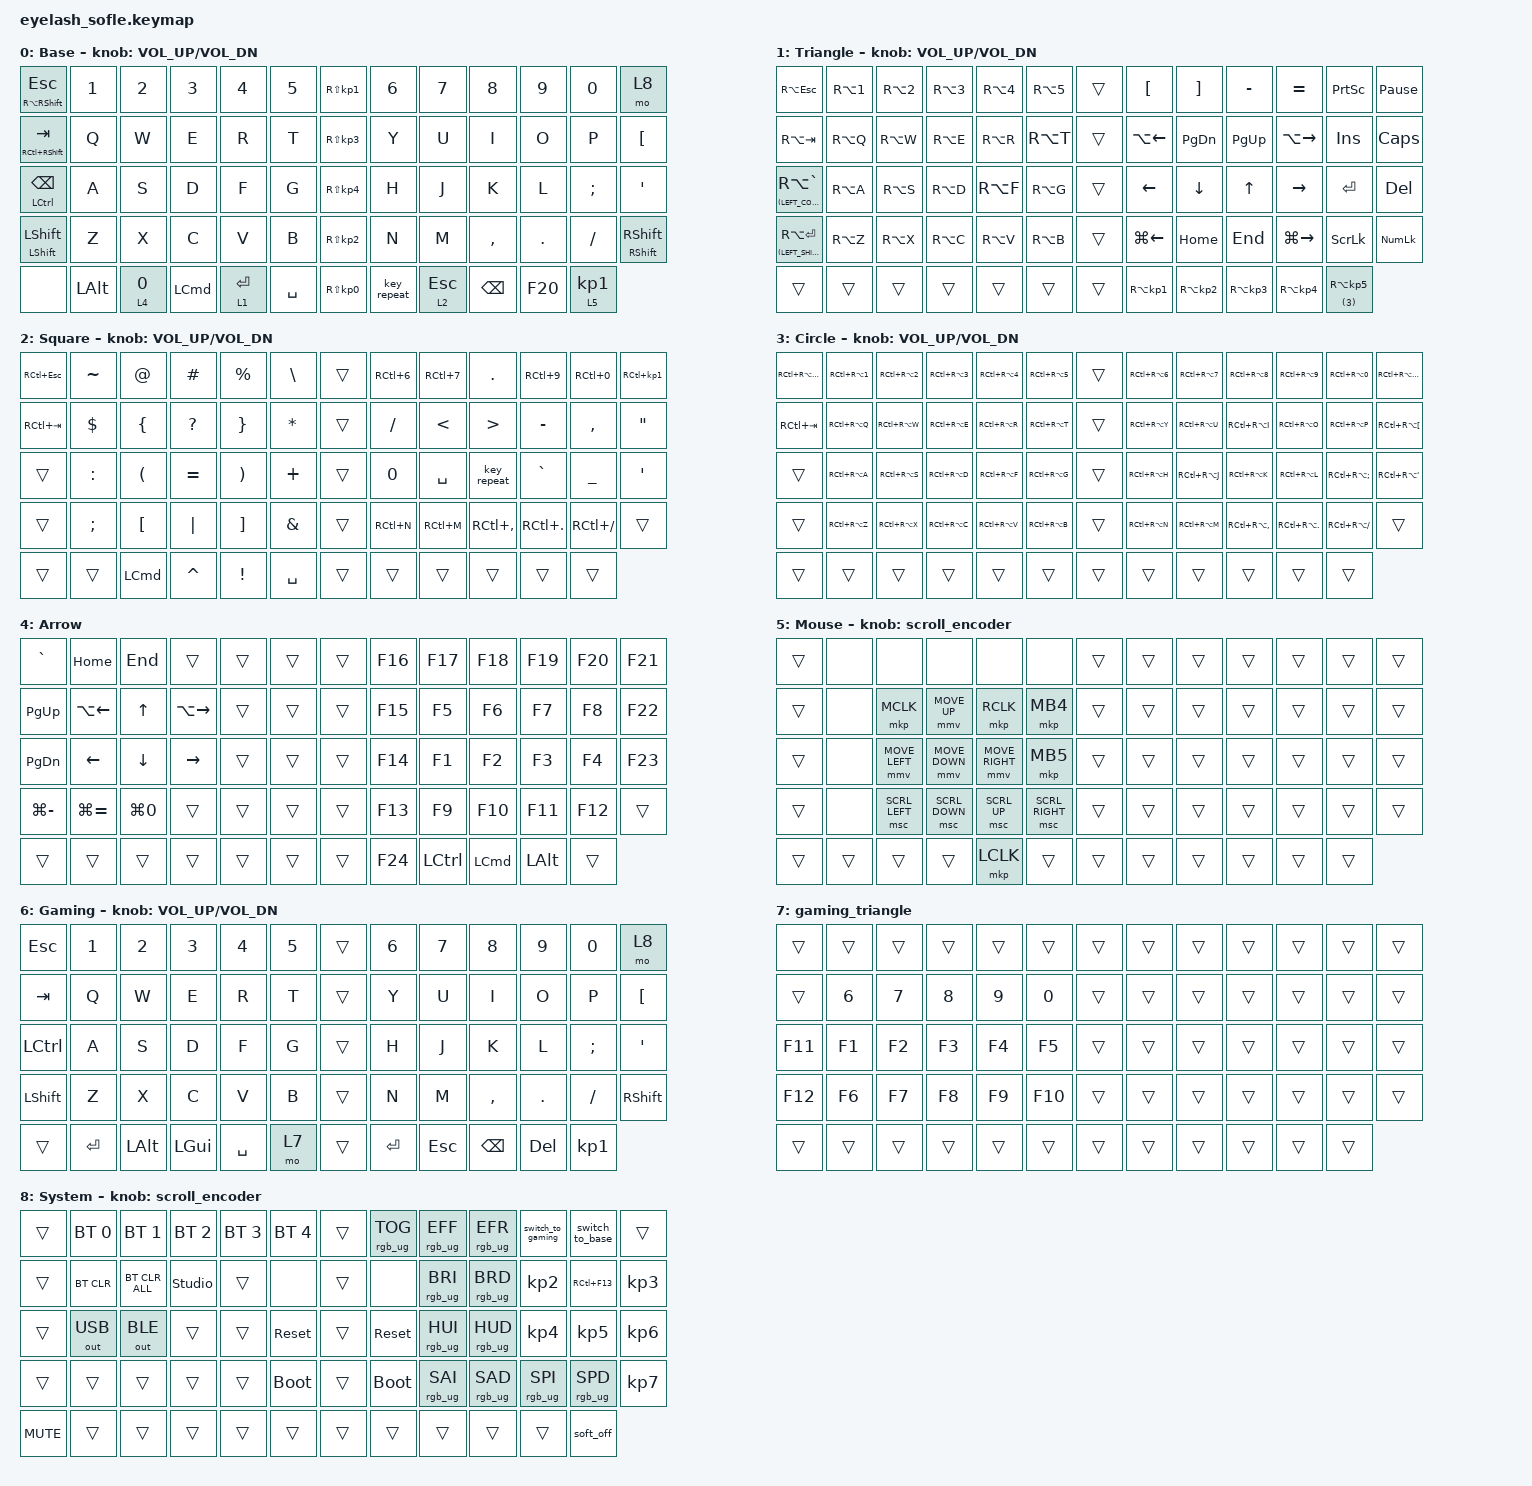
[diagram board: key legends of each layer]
#define ZMK_POINTING_DEFAULT_MOVE_VAL 1200  // 600
#define ZMK_POINTING_DEFAULT_SCRL_VAL 25   // 10

#include <input/processors.dtsi>
#include <zephyr/dt-bindings/input/input-event-codes.h>
#include <behaviors.dtsi>
#include <dt-bindings/zmk/bt.h>
#include <dt-bindings/zmk/keys.h>
#include <dt-bindings/zmk/outputs.h>
#include <dt-bindings/zmk/pointing.h>
#include <dt-bindings/zmk/rgb.h>

&mmv_input_listener { input-processors = <&zip_xy_scaler 2 1>; };

&msc_input_listener { input-processors = <&zip_scroll_scaler 2 1>; };

&msc {
    acceleration-exponent = <1>;      // 0
    time-to-max-speed-ms = <100>;       // 300
    delay-ms = <0>;                   // 0
};

&mmv {
    time-to-max-speed-ms = <500>;
    acceleration-exponent = <1>;
    trigger-period-ms = <16>;
};

&soft_off { hold-time-ms = <2000>; };

&caps_word { continue-list = <UNDERSCORE BACKSPACE DELETE SEMICOLON>; };

&mt { tapping-term-ms = <150>; };

&lt { tapping-term-ms = <150>; };

/ {
    scroll_encoder: scroll_encoder {
        compatible = "zmk,behavior-sensor-rotate";
        #sensor-binding-cells = <0>;
        bindings = <&msc SCRL_DOWN>, <&msc SCRL_UP>;

        tap-ms = <100>;
    };

    mtL1: mtL1 {
        compatible = "zmk,behavior-tap-dance";
        label = "MT L1";
        #binding-cells = <0>;
        bindings = <&mo 6>, <&to 6>;
    };

    hl: hl {
        compatible = "zmk,behavior-hold-tap";
        label = "Hold Layer";
        bindings = <&mo>, <&kp>;

        #binding-cells = <2>;
        tapping-term-ms = <150>;
    };

    skq: sticky_key_quick {
        compatible = "zmk,behavior-sticky-key";
        label = "Sticky Key Quick Release";
        bindings = <&kp>;
        #binding-cells = <1>;
        release-after-ms = <1000>;
        quick-release;
        lazy;
    };

    sksh: sticky_shift {
        compatible = "zmk,behavior-hold-tap";
        label = "Sticky Shift";
        #binding-cells = <2>;
        bindings = <&kp>, <&skq>;

        tapping-term-ms = <150>;
        hold-while-undecided;
    };

    behaviors {
    };

    combos { compatible = "zmk,combos"; };

    macros {
        SHIFT_MCLK: SHIFT_MCLK {
            compatible = "zmk,behavior-macro";
            #binding-cells = <0>;
            bindings =
                <&macro_press>,
                <&kp LEFT_SHIFT>,
                <&macro_press>,
                <&mkp MB3>,
                <&macro_pause_for_release>,
                <&macro_release>,
                <&kp LEFT_SHIFT &mkp MB3>;

            label = "SHIFT_MCLK";
        };

        switch_to_base: switch_to_base {
            compatible = "zmk,behavior-macro";
            #binding-cells = <0>;
            bindings = <&kp RG(RS(F19)) &to 0>;
            label = "switch_to_base";
        };

        switch_to_gaming: switch_to_gaming {
            compatible = "zmk,behavior-macro";
            #binding-cells = <0>;
            bindings = <&kp RG(RS(F20)) &to 6>;
            label = "switch_to_gaming";
        };

        double_zero: double_zero {
            compatible = "zmk,behavior-macro";
            #binding-cells = <0>;
            bindings = <&kp NUMBER_0 &kp NUMBER_0>;
            label = "DOUBLE_ZERO";
        };
    };

    keymap {
        compatible = "zmk,keymap";

        base_layer {
            bindings = <
&mt RA(RIGHT_SHIFT) ESCAPE   &kp N1        &kp N2          &kp N3            &kp N4       &kp N5       &kp RS(KP_NUMBER_1)  &kp N6       &kp N7        &kp N8         &kp N9   &kp N0             &mo 8
&mt RC(RIGHT_SHIFT) TAB      &kp Q         &kp W           &kp E             &kp R        &kp T        &kp RS(KP_NUMBER_3)  &kp Y        &kp U         &kp I          &kp O    &kp P              &kp LEFT_BRACKET
&mt LEFT_CONTROL BACKSPACE   &kp A         &kp S           &kp D             &kp F        &kp G        &kp RS(KP_NUMBER_4)  &kp H        &kp J         &kp K          &kp L    &kp SEMI           &kp APOS
&sksh LEFT_SHIFT LEFT_SHIFT  &kp Z         &kp X           &kp C             &kp V        &kp B        &kp RS(KP_NUMBER_2)  &kp N        &kp M         &kp COMMA      &kp DOT  &kp FSLH           &sksh RIGHT_SHIFT RIGHT_SHIFT
&none                        &kp LEFT_ALT  &lt 4 NUMBER_0  &kp LEFT_COMMAND  &hl 1 ENTER  &kp SPACE    &kp RS(KP_NUMBER_0)  &key_repeat  &hl 2 ESCAPE  &kp BACKSPACE  &kp F20  &hl 5 KP_NUMBER_1
            >;

            sensor-bindings = <&inc_dec_kp C_VOLUME_UP C_VOL_DN>;
            display-name = "Base";
        };

        triangle_layer {
            display-name = "Triangle";
            bindings = <
&kp RA(ESCAPE)                &kp RA(N1)  &kp RA(N2)  &kp RA(N3)  &kp RA(N4)  &kp RA(N5)    &trans  &kp LEFT_BRACKET     &kp RIGHT_BRACKET    &kp MINUS            &kp EQUAL            &kp PRINTSCREEN          &kp PAUSE_BREAK
&kp RA(TAB)                   &kp RA(Q)   &kp RA(W)   &kp RA(E)   &kp RA(R)   &kp RA(T)     &trans  &kp LA(LEFT)         &kp PAGE_DOWN        &kp PAGE_UP          &kp LA(RIGHT)        &kp INSERT               &kp CAPSLOCK
&mt (LEFT_CONTROL) RA(GRAVE)  &kp RA(A)   &kp RA(S)   &kp RA(D)   &kp RA(F)   &kp RA(G)     &trans  &kp LEFT             &kp DOWN             &kp UP               &kp RIGHT            &kp ENTER                &kp DELETE
&mt (LEFT_SHIFT) RA(ENTER)    &kp RA(Z)   &kp RA(X)   &kp RA(C)   &kp RA(V)   &kp RA(B)     &trans  &kp LG(LEFT)         &kp HOME             &kp END              &kp LG(RIGHT)        &kp SCROLLLOCK           &kp KP_NUMLOCK
&trans                        &trans      &trans      &trans      &trans      &trans        &trans  &kp RA(KP_NUMBER_1)  &kp RA(KP_NUMBER_2)  &kp RA(KP_NUMBER_3)  &kp RA(KP_NUMBER_4)  &lt (3) RA(KP_NUMBER_5)
            >;

            sensor-bindings = <&inc_dec_kp C_VOLUME_UP C_VOL_DN>;
        };

        square_layer {
            display-name = "Square";
            bindings = <
&kp RC(ESCAPE)  &kp TILDE      &kp AT                &kp HASH      &kp PERCENT            &kp BACKSLASH    &trans  &kp RC(N6)    &kp RC(N7)     &kp PERIOD        &kp RC(N9)   &kp RC(N0)      &kp RC(KP_NUMBER_1)
&kp RC(TAB)     &kp DOLLAR     &kp LEFT_BRACE        &kp QUESTION  &kp RIGHT_BRACE        &kp ASTERISK     &trans  &kp SLASH     &kp LESS_THAN  &kp GREATER_THAN  &kp MINUS    &kp COMMA       &kp DOUBLE_QUOTES
&trans          &kp COLON      &kp LEFT_PARENTHESIS  &kp EQUAL     &kp RIGHT_PARENTHESIS  &kp PLUS         &trans  &kp NUMBER_0  &kp SPACE      &key_repeat       &kp GRAVE    &kp UNDERSCORE  &kp APOSTROPHE
&trans          &kp SEMICOLON  &kp LEFT_BRACKET      &kp PIPE      &kp RIGHT_BRACKET      &kp AMPERSAND    &trans  &kp RC(N)     &kp RC(M)      &kp RC(COMMA)     &kp RC(DOT)  &kp RC(FSLH)    &trans
&trans          &trans         &kp LEFT_COMMAND      &kp CARET     &kp EXCLAMATION        &kp SPACE        &trans  &trans        &trans         &trans            &trans       &trans
            >;

            sensor-bindings = <&inc_dec_kp C_VOLUME_UP C_VOL_DN>;
        };

        circle_layer {
            display-name = "Circle";
            bindings = <
&kp RC(RA(ESCAPE))  &kp RC(RA(N1))  &kp RC(RA(N2))  &kp RC(RA(N3))  &kp RC(RA(N4))  &kp RC(RA(N5))    &trans  &kp RC(RA(N6))  &kp RC(RA(N7))  &kp RC(RA(N8))     &kp RC(RA(N9))   &kp RC(RA(N0))    &kp RC(RA(KP_NUMBER_1))
&kp RC(TAB)         &kp RC(RA(Q))   &kp RC(RA(W))   &kp RC(RA(E))   &kp RC(RA(R))   &kp RC(RA(T))     &trans  &kp RC(RA(Y))   &kp RC(RA(U))   &kp RC(RA(I))      &kp RC(RA(O))    &kp RC(RA(P))     &kp RC(RA(LEFT_BRACKET))
&trans              &kp RC(RA(A))   &kp RC(RA(S))   &kp RC(RA(D))   &kp RC(RA(F))   &kp RC(RA(G))     &trans  &kp RC(RA(H))   &kp RC(RA(J))   &kp RC(RA(K))      &kp RC(RA(L))    &kp RC(RA(SEMI))  &kp RC(RA(APOS))
&trans              &kp RC(RA(Z))   &kp RC(RA(X))   &kp RC(RA(C))   &kp RC(RA(V))   &kp RC(RA(B))     &trans  &kp RC(RA(N))   &kp RC(RA(M))   &kp RC(RA(COMMA))  &kp RC(RA(DOT))  &kp RC(RA(FSLH))  &trans
&trans              &trans          &trans          &trans          &trans          &trans            &trans  &trans          &trans          &trans             &trans           &trans
            >;

            sensor-bindings = <&inc_dec_kp C_VOLUME_UP C_VOL_DN>;
        };

        arrow_layer {
            bindings = <
&kp GRAVE      &kp HOME       &kp END           &trans         &trans  &trans    &trans  &kp F16  &kp F17           &kp F18           &kp F19       &kp F20  &kp F21
&kp PAGE_UP    &kp LA(LEFT)   &kp UP            &kp LA(RIGHT)  &trans  &trans    &trans  &kp F15  &kp F5            &kp F6            &kp F7        &kp F8   &kp F22
&kp PAGE_DOWN  &kp LEFT       &kp DOWN          &kp RIGHT      &trans  &trans    &trans  &kp F14  &kp F1            &kp F2            &kp F3        &kp F4   &kp F23
&kp LG(MINUS)  &kp LG(EQUAL)  &kp LG(NUMBER_0)  &trans         &trans  &trans    &trans  &kp F13  &kp F9            &kp F10           &kp F11       &kp F12  &trans
&trans         &trans         &trans            &trans         &trans  &trans    &trans  &kp F24  &kp LEFT_CONTROL  &kp LEFT_COMMAND  &kp LEFT_ALT  &trans
            >;

            label = "Arrow";
        };

        mouse_layer {
            bindings = <
&trans  &none   &none           &none           &none            &none              &trans  &trans  &trans  &trans  &trans  &trans  &trans
&trans  &none   &mkp MCLK       &mmv MOVE_UP    &mkp RCLK        &mkp MB4           &trans  &trans  &trans  &trans  &trans  &trans  &trans
&trans  &none   &mmv MOVE_LEFT  &mmv MOVE_DOWN  &mmv MOVE_RIGHT  &mkp MB5           &trans  &trans  &trans  &trans  &trans  &trans  &trans
&trans  &none   &msc SCRL_LEFT  &msc SCRL_DOWN  &msc SCRL_UP     &msc SCRL_RIGHT    &trans  &trans  &trans  &trans  &trans  &trans  &trans
&trans  &trans  &trans          &trans          &mkp LCLK        &trans             &trans  &trans  &trans  &trans  &trans  &trans
            >;

            display-name = "Mouse";
            sensor-bindings = <&scroll_encoder>;
        };

        gaming_layer {
            display-name = "Gaming";
            bindings = <
&kp ESCAPE        &kp N1     &kp N2        &kp N3        &kp N4     &kp N5    &trans  &kp N6     &kp N7      &kp N8         &kp N9      &kp N0           &mo 8
&kp TAB           &kp Q      &kp W         &kp E         &kp R      &kp T     &trans  &kp Y      &kp U       &kp I          &kp O       &kp P            &kp LEFT_BRACKET
&kp LEFT_CONTROL  &kp A      &kp S         &kp D         &kp F      &kp G     &trans  &kp H      &kp J       &kp K          &kp L       &kp SEMI         &kp APOS
&kp LEFT_SHIFT    &kp Z      &kp X         &kp C         &kp V      &kp B     &trans  &kp N      &kp M       &kp COMMA      &kp DOT     &kp FSLH         &kp RIGHT_SHIFT
&trans            &kp ENTER  &kp LEFT_ALT  &kp LEFT_GUI  &kp SPACE  &mo 7     &trans  &kp ENTER  &kp ESCAPE  &kp BACKSPACE  &kp DELETE  &kp KP_NUMBER_1
            >;

            sensor-bindings = <&inc_dec_kp C_VOLUME_UP C_VOL_DN>;
        };

        gaming_triangle {
            bindings = <
&trans   &trans  &trans  &trans  &trans  &trans     &trans  &trans  &trans  &trans  &trans  &trans  &trans
&trans   &kp N6  &kp N7  &kp N8  &kp N9  &kp N0     &trans  &trans  &trans  &trans  &trans  &trans  &trans
&kp F11  &kp F1  &kp F2  &kp F3  &kp F4  &kp F5     &trans  &trans  &trans  &trans  &trans  &trans  &trans
&kp F12  &kp F6  &kp F7  &kp F8  &kp F9  &kp F10    &trans  &trans  &trans  &trans  &trans  &trans  &trans
&trans   &trans  &trans  &trans  &trans  &trans     &trans  &trans  &trans  &trans  &trans  &trans
            >;
        };

        system_layer {
            bindings = <
&trans      &bt BT_SEL 0  &bt BT_SEL 1    &bt BT_SEL 2    &bt BT_SEL 3  &bt BT_SEL 4    &trans  &rgb_ug RGB_TOG  &rgb_ug RGB_EFF  &rgb_ug RGB_EFR  &switch_to_gaming  &switch_to_base  &trans
&trans      &bt BT_CLR    &bt BT_CLR_ALL  &studio_unlock  &trans        &none           &trans  &none            &rgb_ug RGB_BRI  &rgb_ug RGB_BRD  &kp KP_NUMBER_2    &kp RC(F13)      &kp KP_NUMBER_3
&trans      &out OUT_USB  &out OUT_BLE    &trans          &trans        &sys_reset      &trans  &sys_reset       &rgb_ug RGB_HUI  &rgb_ug RGB_HUD  &kp KP_NUMBER_4    &kp KP_NUMBER_5  &kp KP_NUMBER_6
&trans      &trans        &trans          &trans          &trans        &bootloader     &trans  &bootloader      &rgb_ug RGB_SAI  &rgb_ug RGB_SAD  &rgb_ug RGB_SPI    &rgb_ug RGB_SPD  &kp KP_NUMBER_7
&kp C_MUTE  &trans        &trans          &trans          &trans        &trans          &trans  &trans           &trans           &trans           &trans             &soft_off
            >;

            display-name = "System";
            sensor-bindings = <&scroll_encoder>;
        };
    };

    conditional_layers { compatible = "zmk,conditional-layers"; };
};
